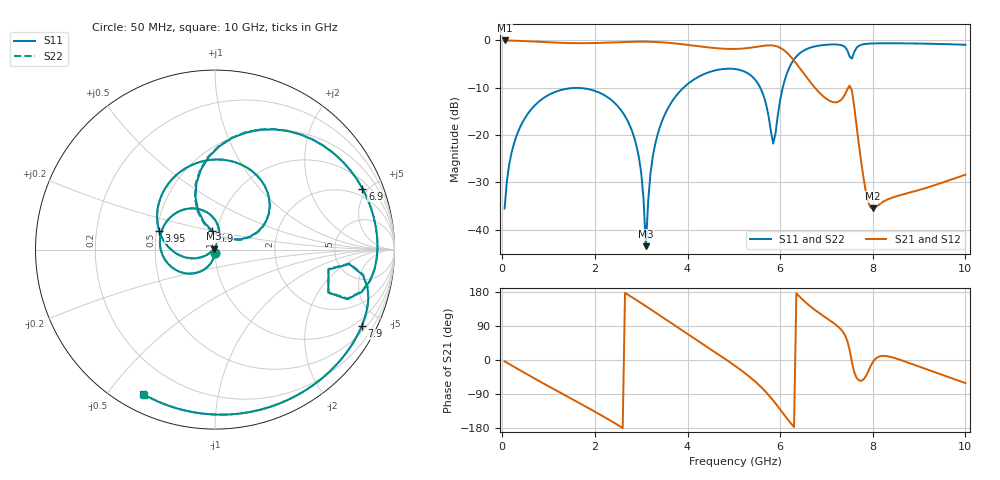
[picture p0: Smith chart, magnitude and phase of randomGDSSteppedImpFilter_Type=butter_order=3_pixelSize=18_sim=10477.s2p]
! freq	dB(S11)	phase(S11)	dB(S12)	phase(S12)
!  dB(S21)	phase(S21)	dB(S22)	phase(S22)
!S-par simulation data
#  GHz  S  DB  R 50
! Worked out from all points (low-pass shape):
!   200 points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, 50 MHz to 10 GHz, reference 50 ohm
!   highest |S21| = -0.02 dB at 50 MHz (marker M1); lowest = -35.5 dB at 8 GHz (marker M2)
!   |S21| within 3 dB of the highest: start of sweep to 6.187 GHz
!   lowest |S11| = -43.5 dB at 3.1 GHz (marker M3), VSWR 1.01, Z = 49.5 + j0.486 ohm
!   |S11| at or under -10 dB: start of sweep to 3.912 GHz; 5.57 GHz to 6.056 GHz (485.8 MHz wide, 8.36 % of centre)
!   |S22| runs from -42.1 to -0.6 dB; largest |S21 - S12| = 0
!   S11 on the Smith chart (normalised r, x): 50 MHz: 1.00, -0.03; 3.95 GHz: 0.52, +0.12; 5.9 GHz: 0.95, +0.20; 6.9 GHz: 1.42, +4.61; 7.9 GHz: 0.69, -3.96; 10 GHz: 0.07, -0.62
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0.05  -35.50 -89.9  -0.02 -3.6  -0.02 -3.6  -35.50 -89.9
0.2  -23.73 -103.8  -0.05 -14.2  -0.05 -14.2  -23.73 -103.8
0.5  -16.24 -125.6  -0.16 -35.2  -0.16 -35.2  -16.24 -125.6
1.1  -11.05 -166.7  -0.45 -76.1  -0.45 -76.1  -11.05 -166.6
1.75  -10.12 150.2  -0.59 -119.4  -0.59 -119.4  -10.12 150.3
2.8  -19.11 77.8  -0.30 165.6  -0.30 165.6  -19.10 78.4
3  -28.02 68.4  -0.28 150.0  -0.28 150.0  -27.97 70.1
3.1  -43.46 133.1  -0.28 142.1  -0.28 142.1  -42.06 134.5
3.2  -28.09 -146.3  -0.30 134.1  -0.30 134.1  -28.04 -148.0
3.4  -18.39 -156.0  -0.38 117.9  -0.38 117.9  -18.39 -156.6
3.95  -9.66 161.3  -0.89 72.8  -0.89 72.8  -9.66 161.1
5.05  -6.09 73.3  -1.80 -17.5  -1.80 -17.5  -6.09 73.1
5.5  -8.81 34.2  -1.35 -61.2  -1.35 -61.2  -8.82 33.8
5.9  -19.66 98.0  -1.18 -114.6  -1.18 -114.6  -19.94 99.5
6.2  -5.71 93.8  -3.15 -162.5  -3.15 -162.5  -5.72 94.3
6.7  -1.39 38.9  -9.43 136.9  -9.43 136.9  -1.40 39.3
6.9  -1.02 22.5  -11.55 119.1  -11.55 119.1  -1.02 22.8
7.55  -3.85 -9.9  -10.62 -5.8  -10.62 -5.8  -3.85 -9.6
7.9  -0.70 -27.6  -34.07 -30.6  -34.07 -30.6  -0.70 -27.3
8  -0.65 -33.1  -35.50 -5.7  -35.50 -5.7  -0.65 -32.8
8.35  -0.61 -49.9  -33.47 9.1  -33.47 9.1  -0.61 -49.6
10  -0.92 -116.4  -28.37 -60.9  -28.37 -60.9  -0.92 -115.9
